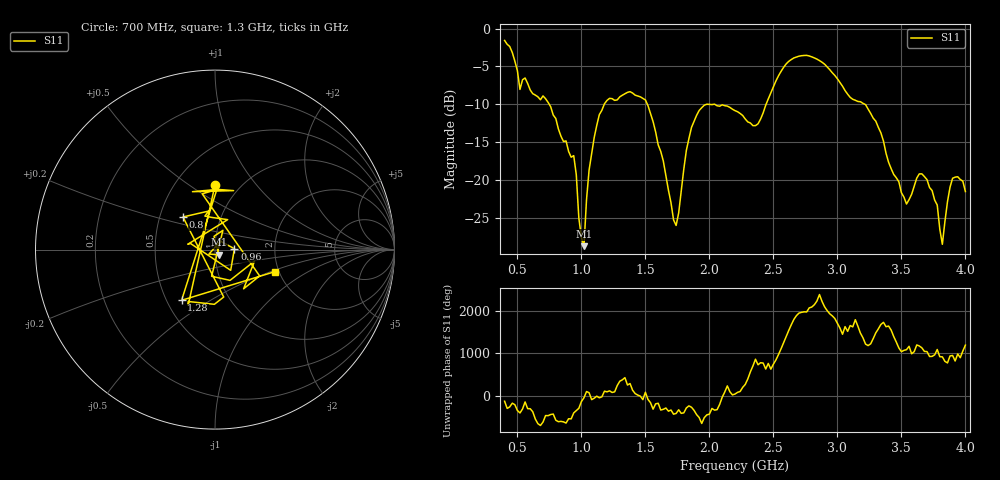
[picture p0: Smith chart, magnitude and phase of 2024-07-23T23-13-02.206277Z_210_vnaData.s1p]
!Created with skrf (http://scikit-rf.org).
# Hz S RI R 50.0
!freq ReS11 ImS11
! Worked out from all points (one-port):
!   181 points, 400 MHz to 4 GHz, reference 50 ohm
!   lowest |S11| = -28.8 dB at 1.02 GHz (marker M1), VSWR 1.08, Z = 52.2 - j3.04 ohm
!   |S11| at or under -10 dB: 748.8 MHz to 1.178 GHz (429.5 MHz wide, 44.6 % of centre); 1.516 GHz to 1.978 GHz (462.3 MHz wide, 26.5 % of centre); 3.215 GHz to end of sweep (the widest 3 of 5)
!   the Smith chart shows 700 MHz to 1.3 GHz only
!   S11 on the Smith chart (normalised r, x): 700 MHz: 0.77, +0.64; 800 MHz: 0.66, +0.26; 960 MHz: 1.24, +0.01; 1.28 GHz: 0.60, -0.38; 1.3 GHz: 1.90, -0.53
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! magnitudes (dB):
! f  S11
! 400 MHz  -1.6
! 520 MHz  -8.0
! 700 MHz  -8.9
! 800 MHz  -11.9
! 860 MHz  -14.9
! 960 MHz  -19.3
! 980 MHz  -25.0
! 1.02 GHz  -28.8
! 1.06 GHz  -18.7
! 1.12 GHz  -12.8
! 1.28 GHz  -9.4
! 1.3 GHz  -9.0
! 1.5 GHz  -9.4
! 1.72 GHz  -25.3
! 1.76 GHz  -24.3
! 1.82 GHz  -16.1
! 1.92 GHz  -10.8
! 2.2 GHz  -10.8
! 2.38 GHz  -12.6
! 2.66 GHz  -3.9
! 3.1 GHz  -9.1
! 3.3 GHz  -12.2
! 3.56 GHz  -22.6
! 3.7 GHz  -20.0
! 3.78 GHz  -23.3
! 3.82 GHz  -28.5
! 3.9 GHz  -19.8
! 4 GHz  -21.5
